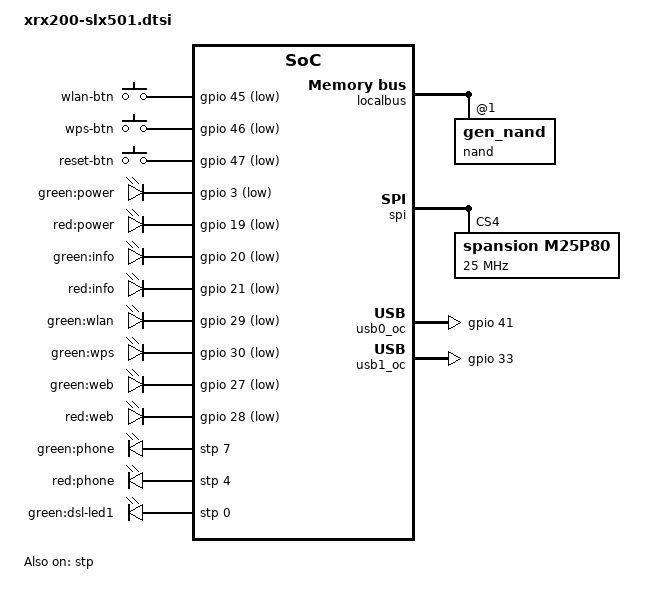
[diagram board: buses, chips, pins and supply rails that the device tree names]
// SPDX-License-Identifier: GPL-2.0
/*
 * Copyright (C) 2014-2019 Sphairon GmbH (a Zyxel company)
 */

#include <dt-bindings/gpio/gpio.h>
#include "xrx200.dtsi"

/ {
	gpio-keys-polled {
		compatible = "gpio-keys-polled";
		#address-cells = <1>;
		#size-cells = <0>;
		poll-interval = <100>;

		pinctrl-names = "default";
		pinctrl-0 = <&pins_gpio_keys_default>;

		wlan {
			label = "wlan-btn";
			gpios = <&gpio 45 GPIO_ACTIVE_LOW>;
			linux,code = <0x101>;	/* BTN_1 */
		};
		wps {
			label = "wps-btn";
			gpios = <&gpio 46 GPIO_ACTIVE_LOW>;
			linux,code = <0x102>;	/* BTN_2 */
		};
		reset {
			label = "reset-btn";
			gpios = <&gpio 47 GPIO_ACTIVE_LOW>;
			linux,code = <0x100>;	/* BTN_0 */
		};
	};

	gpio-leds {
		compatible = "gpio-leds";

		pinctrl-names = "default";
		pinctrl-0 = <&pins_gpio_leds_default>;

		power_green {
			label = "green:power";
			gpios = <&gpio 3 GPIO_ACTIVE_LOW>;
			default-state = "off";
		};
		power_red {
			label = "red:power";
			gpios = <&gpio 19 GPIO_ACTIVE_LOW>;
			default-state = "on";
		};
		info_green {
			label = "green:info";
			gpios = <&gpio 20 GPIO_ACTIVE_LOW>;
			default-state = "off";
		};
		info_red {
			label = "red:info";
			gpios = <&gpio 21 GPIO_ACTIVE_LOW>;
			default-state = "off";
		};
		wlan_green {
			label = "green:wlan";
			gpios = <&gpio 29 GPIO_ACTIVE_LOW>;
			default-state = "off";
		};
		wps_green {
			label = "green:wps";
			gpios = <&gpio 30 GPIO_ACTIVE_LOW>;
			default-state = "off";
		};
		web_green {
			label = "green:web";
			gpios = <&gpio 27 GPIO_ACTIVE_LOW>;
			default-state = "off";
		};
		web_red {
			label = "red:web";
			gpios = <&gpio 28 GPIO_ACTIVE_LOW>;
			default-state = "off";
		};
		phone_green {
			label = "green:phone";
			gpios = <&stp 7 GPIO_ACTIVE_HIGH>;
			default-state = "off";
		};
		phone_red {
			label = "red:phone";
			gpios = <&stp 4 GPIO_ACTIVE_HIGH>;
			default-state = "off";
		};
		dsl_green {
			label = "green:dsl-led1";
			gpios = <&stp 0 GPIO_ACTIVE_HIGH>;
			default-state = "off";
		};
	};

	sph_platform {
		#address-cells = <1>;
		#size-cells = <0>;
		compatible = "sphairon,platform";

		pinctrl-names = "default";
		pinctrl-0 = <&pins_sph_platform_default>;

		wlan_pwr {
			label = "wlan-pwr";
			gpios = <&gpio 37 GPIO_ACTIVE_HIGH>;
			default-state = "off";
		};
		wlan_rst {
			label = "wlan-rst";
			gpios = <&gpio 15 GPIO_ACTIVE_LOW>;
			default-state = "on";
		};
    };
};

&mps {
	pinctrl-names = "default", "master", "slave";
	pinctrl-0 = <&pins_tdm_default &pins_ssio_default>;
	pinctrl-1 = <&pins_tdm_master>;
	pinctrl-2 = <&pins_tdm_slave>;

	lantiq,slic-reset = <&gpio 31 GPIO_ACTIVE_HIGH>;
};

&localbus {
	nand@1 {
		compatible = "gen_nand", "lantiq,nand-xway";
		reg = <1 0x0 0x2000000>;
		linux,mtd-name = "nand-xway";
		bbt-use-flash;
		bank-width = <2>;
		lantiq,cs = <1>;
		pinctrl-names = "default";
		pinctrl-0 = <&pins_nand_default>;
	};
};

&spi {
	pinctrl-names = "default";
	pinctrl-0 = <&pins_spi_default>;

	status = "ok";

	m25p80@4 {
		#address-cells = <1>;
		#size-cells = <1>;
		compatible = "spansion,m25p80";
		reg = <4>;
		spi-max-frequency = <25000000>;
	};
};

&gpio {
	pinctrl-names = "default";
	pinctrl-0 = <&pins_default>;

	pins_default: pins_default {
	};

	pins_eth_default: pins_eth_default {
		mdio {
			lantiq,groups = "mdio";
			lantiq,function = "mdio";
			lantiq,output = <1>;
		};
		exin2 {
			lantiq,groups = "exin2";
			lantiq,function = "exin";
			lantiq,output = <0>;
		};
	};

	pins_gpio_keys_default: pins_gpio_keys_default {
		gpio_in {
			lantiq,pins = "io45", "io46", "io47";
			lantiq,output = <0>;
		};
	};

	pins_gpio_leds_default: pins_gpio_leds_default {
		gpio_low_active {
			lantiq,pins = "io3", "io19", "io20",
					"io21", "io27", "io28",
					"io29", "io30";
			lantiq,output = <1>;
		};
	};

	pins_nand_default: pins_nand_default {
		nand_out {
			lantiq,groups = "ebu cs1", "nand cle",
					"nand ale", "nand rd";
			lantiq,function = "ebu";
			lantiq,output = <1>;
		};
		nand_in {
			lantiq,groups = "nand rdy";
			lantiq,function = "ebu";
			lantiq,output = <0>;
		};
	};

	pins_psb21150_default: pins_psb21150_default {
		exin1 {
			lantiq,groups = "exin1";
			lantiq,function = "exin";
			lantiq,output = <0>;
		};
	};

	pins_sph_platform_default: pins_sph_platform_default {
		gpio_low_active {
			lantiq,pins = "io15", "io31";
			lantiq,output = <1>;
		};
		gpio_high_active {
			lantiq,pins = "io37";
			lantiq,output = <1>;
		};
	};

	pins_spi_default: pins_spi_default {
		spi_in {
			lantiq,groups = "spi_din";
			lantiq,function = "spi";
			lantiq,output = <0>;
		};
		spi_out {
			lantiq,groups = "spi_dout", "spi_clk",
					"spi_cs4";
			lantiq,function = "spi";
			lantiq,output = <1>;
		};
	};

	pins_stp_default: pins_stp_default {
		stp {
			lantiq,groups = "stp";
			lantiq,function = "stp";
			lantiq,output = <1>;
		};
	};

	pins_usif_spi_default: pins_usif_spi_default {
		usif_in {
			lantiq,groups = "usif din";
			lantiq,function = "usif";
			lantiq,pull = <2>;
			lantiq,output = <0>;
		};
		usif_out {
			lantiq,groups = "usif dout";
			lantiq,function = "usif";
			lantiq,output = <1>;
		};
		usif_clk {
			lantiq,groups = "usif clk drive";
			lantiq,function = "gpio";
			lantiq,output = <1>;
			lantiq,drive = <1>;
			lantiq,open-drain = <0>;
		};
	};

	pins_usif_clk_active: pins_usif_clk_active{
		usif_clk {
			lantiq,groups = "usif clk";
			lantiq,function = "usif";
			lantiq,output = <1>;
		};
	};

	pins_usif_clk_high: pins_usif_clk_high {
		usif_clk {
			lantiq,groups = "usif clk drive";
			lantiq,function = "gpio";
			lantiq,output = <1>;
			lantiq,drive = <1>;
		};
	};

	pins_usif_clk_low: pins_usif_clk_low {
		usif_clk {
			lantiq,groups = "usif clk drive";
			lantiq,function = "gpio";
			lantiq,output = <1>;
			lantiq,drive = <0>;
		};
	};

	pins_tdm_default: pins_tdm_default {
		tdm_clock {
			lantiq,groups = "tdm fsc", "tdm dcl";
			lantiq,function = "gpio";
			lantiq,pull = <2>;
			lantiq,open-drain = <0>;
			lantiq,output = <0>;
		};
		tdm_data {
			lantiq,groups = "tdm di", "tdm do";
			lantiq,function = "gpio";
			lantiq,pull = <2>;
			lantiq,open-drain = <0>;
			lantiq,output = <0>;
		};
	};

	pins_tdm_master: pins_tdm_master {
		tdm_clock {
			lantiq,groups = "tdm fsc", "tdm dcl";
			lantiq,function = "tdm";
			lantiq,pull = <0>;
			lantiq,open-drain = <0>;
			lantiq,output = <1>;
		};
		tdm_di {
			lantiq,groups = "tdm di";
			lantiq,function = "tdm";
			lantiq,pull = <2>;
			lantiq,open-drain = <0>;
			lantiq,output = <0>;
		};
		tdm_do {
			lantiq,groups = "tdm do";
			lantiq,function = "tdm";
			lantiq,pull = <0>;
			lantiq,open-drain = <0>;
			lantiq,output = <1>;
		};
	};

	pins_tdm_slave: pins_tdm_slave {
		tdm_clock {
			lantiq,groups = "tdm fsc", "tdm dcl";
			lantiq,function = "tdm";
			lantiq,pull = <2>;
			lantiq,open-drain = <0>;
			lantiq,output = <0>;
		};
		tdm_di {
			lantiq,groups = "tdm di";
			lantiq,function = "tdm";
			lantiq,pull = <2>;
			lantiq,open-drain = <0>;
			lantiq,output = <0>;
		};
		tdm_do {
			lantiq,groups = "tdm do";
			lantiq,function = "tdm";
			lantiq,pull = <0>;
			lantiq,open-drain = <0>;
			lantiq,output = <1>;
		};
	};

	pins_ssio_default: pins_ssio_default {
		ssio_out {
			lantiq,groups = "ssio tx";
			lantiq,function = "ssio";
			lantiq,output = <1>;
		};
		ssio_in {
			lantiq,groups = "ssio rx", "ssio clk";
			lantiq,function = "ssio";
			lantiq,output = <0>;
		};
		clk {
			lantiq,groups = "clkout0";
			lantiq,function = "cgu";
			lantiq,output = <1>;
		};
		slic_reset {
			lantiq,pins = "io31";
			lantiq,pull = <0>;
			lantiq,open-drain = <0>;
			lantiq,output = <1>;
			lantiq,drive = <1>;
		};
	};

	pins_usb0_default: pins_usb0_default {
		gpio_high_active {
			lantiq,pins = "io41";
			lantiq,output = <1>;
		};
	};

	pins_usb1_default: pins_usb1_default {
		gpio_high_active {
			lantiq,pins = "io33";
			lantiq,output = <1>;
		};
	};
};

&stp {
	pinctrl-names = "default";
	pinctrl-0 = <&pins_stp_default>;

	status = "ok";

	lantiq,shadow = <0x0>;
	lantiq,groups = <0x1>;
	lantiq,speed = <0x8>;
	lantiq,phy1 = <0x3>;
	lantiq,phy2 = <0x3>;
};

&usif {
	pinctrl-names = "default", "clk active", "clk high",
			"clk low";
	pinctrl-0 = <&pins_usif_spi_default &pins_usif_clk_low
			&pins_psb21150_default>;
	pinctrl-1 = <&pins_usif_clk_active>;
	pinctrl-2 = <&pins_usif_clk_high>;
	pinctrl-3 = <&pins_usif_clk_low>;
};

&usb0_oc {
	pinctrl-names = "default";
	pinctrl-0 = <&pins_usb0_default>;
	gpios = <&gpio 41 GPIO_ACTIVE_HIGH>;
};

&usb1_oc {
	pinctrl-names = "default";
	pinctrl-0 = <&pins_usb1_default>;
	gpios = <&gpio 33 GPIO_ACTIVE_HIGH>;
};
